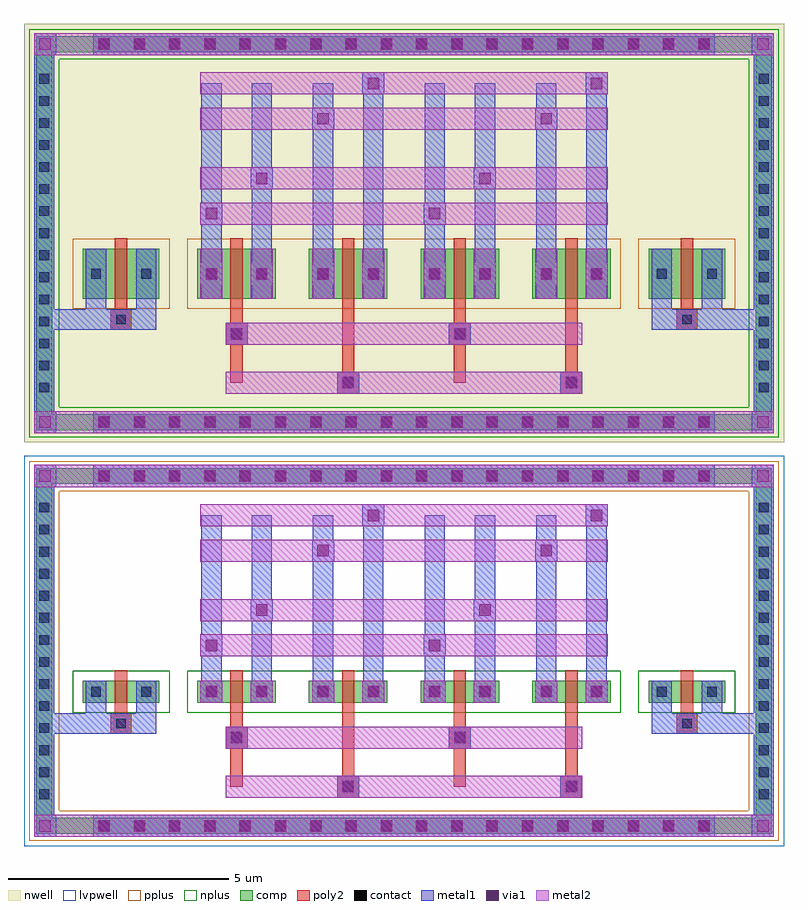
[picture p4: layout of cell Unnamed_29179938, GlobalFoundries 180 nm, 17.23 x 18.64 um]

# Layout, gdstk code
import gdstk
lib = gdstk.Library(unit=1e-6, precision=5e-09)
def R(c, l, rs):  # rectangles x0, y0, x1, y1
    for r in rs: c.add(gdstk.rectangle(r[:2], r[2:], *l))
def A(c, l, x, y, w, h, nx, ny, dx, dy):  # array of equal rectangles
    R(c, l, [(x+i*dx, y+j*dy, x+i*dx+w, y+j*dy+h) for i in range(nx) for j in range(ny)])
def P(c, l, *ps):  # polygons
    for p in ps: c.add(gdstk.Polygon(p, *l))
nwell = (21, 0)
comp = (22, 0)
poly2 = (30, 0)
pplus = (31, 0)
nplus = (32, 0)
contact = (33, 0)
metal1 = (34, 0)
via1 = (35, 0)
metal2 = (36, 0)
lvpwell = (204, 0)

unnamed_eaa04221_1 = lib.new_cell('Unnamed_eaa04221$1')
A(unnamed_eaa04221_1, comp, -6.98, -4.465, 0.36, 0.36, 18, 2, 0.8, 8.57)
A(unnamed_eaa04221_1, comp, -8.335, -3.68, 0.36, 0.36, 1, 15, 0, 0.5)
A(unnamed_eaa04221_1, comp, 7.975, -3.68, 0.36, 0.36, 1, 15, 0, 0.5)
R(unnamed_eaa04221_1, comp, [(-6.98,-4.465,6.98,-4.105), (-8.335,-3.68,-7.975,3.68), (7.975,-3.68,8.335,3.68), (-6.98,4.105,6.98,4.465)])
P(unnamed_eaa04221_1, comp, [(-8.335,-4.465),(-8.335,-4.105),(-7.975,-4.105),(7.975,-4.105),(7.975,4.105),(-7.975,4.105),(-7.975,-4.105),(-8.335,-4.105),(-8.335,4.465),(8.335,4.465),(8.335,-4.465)])
P(unnamed_eaa04221_1, nplus, [(-8.495,-4.625),(-8.495,-3.945),(-7.815,-3.945),(7.815,-3.945),(7.815,3.945),(-7.815,3.945),(-7.815,-3.945),(-8.495,-3.945),(-8.495,4.625),(8.495,4.625),(8.495,-4.625)])
A(unnamed_eaa04221_1, contact, -6.91, -4.395, 0.22, 0.22, 18, 2, 0.8, 8.57)
A(unnamed_eaa04221_1, contact, -8.265, -3.61, 0.22, 0.22, 1, 15, 0, 0.5)
A(unnamed_eaa04221_1, contact, 8.045, -3.61, 0.22, 0.22, 1, 15, 0, 0.5)
A(unnamed_eaa04221_1, metal1, -7.05, -4.535, 0.5, 0.5, 18, 2, 0.8, 8.57)
A(unnamed_eaa04221_1, metal1, -8.385, -3.73, 0.46, 0.46, 1, 15, 0, 0.5)
A(unnamed_eaa04221_1, metal1, 7.925, -3.73, 0.46, 0.46, 1, 15, 0, 0.5)
R(unnamed_eaa04221_1, metal1, [(-8.385,-4.535,-7.885,-4.035), (-8.385,-4.535,-7.885,-4.035), (-8.385,-4.535,-7.925,-4.105), (-7.05,-4.535,7.05,-4.035), (7.885,-4.535,8.385,-4.035), (7.885,-4.535,8.385,-4.035), (7.925,-4.535,8.385,-4.105), (-8.385,-4.105,-7.925,4.105), (7.925,-4.105,8.385,4.105), (-8.385,4.035,-7.885,4.535), (-8.385,4.035,-7.885,4.535), (-7.05,4.035,7.05,4.535), (7.885,4.035,8.385,4.535), (7.885,4.035,8.385,4.535), (-8.385,4.105,-7.925,4.535), (7.925,4.105,8.385,4.535)])
A(unnamed_eaa04221_1, via1, -6.93, -4.415, 0.26, 0.26, 18, 2, 0.8, 8.57)
R(unnamed_eaa04221_1, via1, [(-8.265,-4.415,-8.005,-4.155), (8.005,-4.415,8.265,-4.155), (-8.265,4.155,-8.005,4.415), (8.005,4.155,8.265,4.415)])
A(unnamed_eaa04221_1, metal2, -7.05, -4.535, 0.5, 0.5, 18, 2, 0.8, 8.57)
R(unnamed_eaa04221_1, metal2, [(-8.385,-4.535,-7.975,-4.035), (-8.385,-4.535,-7.885,-4.035), (-8.385,-4.535,-7.885,-4.035), (-7.975,-4.535,7.975,-4.035), (7.885,-4.535,8.385,-4.035), (7.885,-4.535,8.385,-4.035), (7.975,-4.535,8.385,-4.035), (-8.385,4.035,-7.975,4.535), (-8.385,4.035,-7.885,4.535), (-8.385,4.035,-7.885,4.535), (-7.975,4.035,7.975,4.535), (7.885,4.035,8.385,4.535), (7.885,4.035,8.385,4.535), (7.975,4.035,8.385,4.535)])

straight_route_da185be0 = lib.new_cell('straight_route_da185be0')
R(straight_route_da185be0, metal1, [(-8.385,-2.185,-6.645,-1.725)])

straight_route_5842c950 = lib.new_cell('straight_route_5842c950')
R(straight_route_5842c950, metal1, [(6.645,-2.185,8.385,-1.725)])

transformed_f8c645db = lib.new_cell('transformed_f8c645db')
R(transformed_f8c645db, nwell, [(-8.615,-4.745,8.615,4.745)])
A(transformed_f8c645db, comp, -4.685, -1.485, 1.78, 1.13, 4, 1, 2.53, 0)
R(transformed_f8c645db, comp, [(-7.285,-1.485,-5.545,-0.355), (5.545,-1.485,7.285,-0.355)])
A(transformed_f8c645db, poly2, -3.935, -1.725, 0.28, 1.61, 4, 1, 2.53, 0)
R(transformed_f8c645db, poly2, [(-1.515,-3.64,-1.015,-3.14), (3.545,-3.64,4.045,-3.14), (-1.445,-3.57,-1.085,-3.21), (3.615,-3.57,3.975,-3.21), (-3.935,-3.39,-3.655,-1.725), (1.125,-3.39,1.405,-1.725), (-1.405,-3.14,-1.125,-1.725), (3.655,-3.14,3.935,-1.725), (-4.045,-2.53,-3.545,-2.03), (1.015,-2.53,1.515,-2.03), (-3.975,-2.46,-3.615,-2.1), (1.085,-2.46,1.445,-2.1), (-6.645,-2.185,-6.185,-1.725), (6.185,-2.185,6.645,-1.725), (-6.595,-2.135,-6.235,-1.775), (6.235,-2.135,6.595,-1.775), (-3.935,-2.03,-3.655,-1.725), (1.125,-2.03,1.405,-1.725), (-6.555,-1.725,-6.275,-0.115), (6.275,-1.725,6.555,-0.115)])
A(transformed_f8c645db, pplus, -4.915, -1.715, 2.24, 1.59, 4, 1, 2.53, 0)
R(transformed_f8c645db, pplus, [(-7.515,-1.715,-5.315,-0.125), (-4.915,-1.715,4.915,-0.125), (5.315,-1.715,7.515,-0.125)])
R(transformed_f8c645db, contact, [(-1.375,-3.5,-1.155,-3.28), (3.685,-3.5,3.905,-3.28), (-3.905,-2.39,-3.685,-2.17), (1.155,-2.39,1.375,-2.17), (-6.525,-2.065,-6.305,-1.845), (6.305,-2.065,6.525,-1.845), (-7.095,-1.03,-6.875,-0.81), (-5.955,-1.03,-5.735,-0.81), (-4.475,-1.03,-4.255,-0.81), (-3.335,-1.03,-3.115,-0.81), (-1.945,-1.03,-1.725,-0.81), (-0.805,-1.03,-0.585,-0.81), (0.585,-1.03,0.805,-0.81), (1.725,-1.03,1.945,-0.81), (3.115,-1.03,3.335,-0.81), (4.255,-1.03,4.475,-0.81), (5.735,-1.03,5.955,-0.81), (6.875,-1.03,7.095,-0.81)])
R(transformed_f8c645db, metal1, [(-1.515,-3.64,-1.015,-3.14), (3.545,-3.64,4.045,-3.14), (-4.045,-2.53,-3.545,-2.03), (1.015,-2.53,1.515,-2.03), (-7.215,-2.185,-6.645,-1.725), (-7.215,-2.185,-6.755,-1.485), (-6.645,-2.185,-6.185,-1.725), (-6.185,-2.185,-5.615,-1.725), (-6.075,-2.185,-5.615,-1.485), (5.615,-2.185,6.185,-1.725), (5.615,-2.185,6.075,-1.485), (6.185,-2.185,6.645,-1.725), (6.645,-2.185,7.215,-1.725), (6.755,-2.185,7.215,-1.485), (-7.215,-1.485,-6.755,-0.355), (-6.075,-1.485,-5.615,-0.355), (-4.595,-1.485,-4.135,-0.355), (-3.455,-1.485,-2.995,-0.355), (-2.065,-1.485,-1.605,-0.355), (-0.925,-1.485,-0.465,-0.355), (0.465,-1.485,0.925,-0.355), (1.605,-1.485,2.065,-0.355), (2.995,-1.485,3.455,-0.355), (4.135,-1.485,4.595,-0.355), (5.615,-1.485,6.075,-0.355), (6.755,-1.485,7.215,-0.355), (-4.615,-1.17,-4.115,-0.67), (-4.615,-1.17,-4.115,-0.67), (-3.475,-1.17,-2.975,-0.67), (-3.475,-1.17,-2.975,-0.67), (-2.085,-1.17,-1.585,-0.67), (-2.085,-1.17,-1.585,-0.67), (-0.945,-1.17,-0.445,-0.67), (-0.945,-1.17,-0.445,-0.67), (0.445,-1.17,0.945,-0.67), (0.445,-1.17,0.945,-0.67), (1.585,-1.17,2.085,-0.67), (1.585,-1.17,2.085,-0.67), (2.975,-1.17,3.475,-0.67), (2.975,-1.17,3.475,-0.67), (4.115,-1.17,4.615,-0.67), (4.115,-1.17,4.615,-0.67), (-7.215,-1.15,-6.755,-0.69), (-6.075,-1.15,-5.615,-0.69), (-4.595,-1.15,-4.135,-0.69), (-3.455,-1.15,-2.995,-0.69), (-2.065,-1.15,-1.605,-0.69), (-0.925,-1.15,-0.465,-0.69), (0.465,-1.15,0.925,-0.69), (1.605,-1.15,2.065,-0.69), (2.995,-1.15,3.455,-0.69), (4.135,-1.15,4.595,-0.69), (5.615,-1.15,6.075,-0.69), (6.755,-1.15,7.215,-0.69), (-4.595,-0.355,-4.135,0.695), (-4.595,-0.355,-4.135,3.395), (-3.455,-0.355,-2.995,1.495), (-3.455,-0.355,-2.995,3.395), (-2.065,-0.355,-1.605,2.845), (-2.065,-0.355,-1.605,3.395), (-0.925,-0.355,-0.465,3.645), (-0.925,-0.355,-0.465,3.395), (0.465,-0.355,0.925,0.695), (0.465,-0.355,0.925,3.395), (1.605,-0.355,2.065,1.495), (1.605,-0.355,2.065,3.395), (2.995,-0.355,3.455,2.845), (2.995,-0.355,3.455,3.395), (4.135,-0.355,4.595,3.645), (4.135,-0.355,4.595,3.395), (-4.615,0.195,-4.115,0.695), (0.445,0.195,0.945,0.695), (-3.475,0.995,-2.975,1.495), (1.585,0.995,2.085,1.495), (-2.085,2.345,-1.585,2.845), (2.975,2.345,3.475,2.845), (-0.945,3.145,-0.445,3.645), (4.115,3.145,4.615,3.645)])
R(transformed_f8c645db, via1, [(-1.395,-3.52,-1.135,-3.26), (3.665,-3.52,3.925,-3.26), (-3.925,-2.41,-3.665,-2.15), (1.135,-2.41,1.395,-2.15), (-4.495,-1.05,-4.235,-0.79), (-3.355,-1.05,-3.095,-0.79), (-1.965,-1.05,-1.705,-0.79), (-0.825,-1.05,-0.565,-0.79), (0.565,-1.05,0.825,-0.79), (1.705,-1.05,1.965,-0.79), (3.095,-1.05,3.355,-0.79), (4.235,-1.05,4.495,-0.79), (-4.495,0.315,-4.235,0.575), (0.565,0.315,0.825,0.575), (-3.355,1.115,-3.095,1.375), (1.705,1.115,1.965,1.375), (-1.965,2.465,-1.705,2.725), (3.095,2.465,3.355,2.725), (-0.825,3.265,-0.565,3.525), (4.235,3.265,4.495,3.525)])
R(transformed_f8c645db, metal2, [(-4.045,-3.64,4.045,-3.14), (-1.515,-3.64,-1.015,-3.14), (-1.515,-3.64,-1.015,-3.14), (3.545,-3.64,4.045,-3.14), (3.545,-3.64,4.045,-3.14), (-4.045,-2.53,-3.545,-2.03), (-4.045,-2.53,-3.545,-2.03), (-4.045,-2.53,4.045,-2.03), (1.015,-2.53,1.515,-2.03), (1.015,-2.53,1.515,-2.03), (-4.615,-1.485,-4.115,-0.355), (-3.475,-1.485,-2.975,-0.355), (-2.085,-1.485,-1.585,-0.355), (-0.945,-1.485,-0.445,-0.355), (0.445,-1.485,0.945,-0.355), (1.585,-1.485,2.085,-0.355), (2.975,-1.485,3.475,-0.355), (4.115,-1.485,4.615,-0.355), (-4.615,-1.17,-4.115,-0.67), (-3.475,-1.17,-2.975,-0.67), (-2.085,-1.17,-1.585,-0.67), (-0.945,-1.17,-0.445,-0.67), (0.445,-1.17,0.945,-0.67), (1.585,-1.17,2.085,-0.67), (2.975,-1.17,3.475,-0.67), (4.115,-1.17,4.615,-0.67), (-4.615,0.195,-4.115,0.695), (-4.615,0.195,-2.975,0.695), (-4.615,0.195,4.615,0.695), (0.445,0.195,0.945,0.695), (0.445,0.195,2.085,0.695), (-4.615,0.995,-2.975,1.495), (-4.615,0.995,4.615,1.495), (-3.475,0.995,-2.975,1.495), (0.445,0.995,2.085,1.495), (1.585,0.995,2.085,1.495), (-4.615,2.345,4.615,2.845), (-2.085,2.345,-1.585,2.845), (-2.085,2.345,-0.445,2.845), (2.975,2.345,3.475,2.845), (2.975,2.345,4.615,2.845), (-4.615,3.145,4.615,3.645), (-2.085,3.145,-0.445,3.645), (-0.945,3.145,-0.445,3.645), (2.975,3.145,4.615,3.645), (4.115,3.145,4.615,3.645)])
transformed_f8c645db.add(gdstk.Reference(unnamed_eaa04221_1, (0,0)))
transformed_f8c645db.add(gdstk.Reference(straight_route_da185be0, (0,0)))
transformed_f8c645db.add(gdstk.Reference(straight_route_5842c950, (0,0)))

unnamed_e345ad25_1 = lib.new_cell('Unnamed_e345ad25$1')
A(unnamed_e345ad25_1, comp, -6.98, -4.145, 0.36, 0.36, 18, 2, 0.8, 7.93)
A(unnamed_e345ad25_1, comp, -8.335, -3.43, 0.36, 0.36, 1, 14, 0, 0.5)
A(unnamed_e345ad25_1, comp, 7.975, -3.43, 0.36, 0.36, 1, 14, 0, 0.5)
R(unnamed_e345ad25_1, comp, [(-6.98,-4.145,6.98,-3.785), (-8.335,-3.43,-7.975,3.43), (7.975,-3.43,8.335,3.43), (-6.98,3.785,6.98,4.145)])
P(unnamed_e345ad25_1, comp, [(-8.335,-4.145),(-8.335,-3.785),(-7.975,-3.785),(7.975,-3.785),(7.975,3.785),(-7.975,3.785),(-7.975,-3.785),(-8.335,-3.785),(-8.335,4.145),(8.335,4.145),(8.335,-4.145)])
P(unnamed_e345ad25_1, pplus, [(-8.495,-4.305),(-8.495,-3.625),(-7.815,-3.625),(7.815,-3.625),(7.815,3.625),(-7.815,3.625),(-7.815,-3.625),(-8.495,-3.625),(-8.495,4.305),(8.495,4.305),(8.495,-4.305)])
A(unnamed_e345ad25_1, contact, -6.91, -4.075, 0.22, 0.22, 18, 2, 0.8, 7.93)
A(unnamed_e345ad25_1, contact, -8.265, -3.36, 0.22, 0.22, 1, 14, 0, 0.5)
A(unnamed_e345ad25_1, contact, 8.045, -3.36, 0.22, 0.22, 1, 14, 0, 0.5)
A(unnamed_e345ad25_1, metal1, -7.05, -4.215, 0.5, 0.5, 18, 2, 0.8, 7.93)
A(unnamed_e345ad25_1, metal1, -8.385, -3.48, 0.46, 0.46, 1, 14, 0, 0.5)
A(unnamed_e345ad25_1, metal1, 7.925, -3.48, 0.46, 0.46, 1, 14, 0, 0.5)
R(unnamed_e345ad25_1, metal1, [(-8.385,-4.215,-7.885,-3.715), (-8.385,-4.215,-7.885,-3.715), (-8.385,-4.215,-7.925,-3.785), (-7.05,-4.215,7.05,-3.715), (7.885,-4.215,8.385,-3.715), (7.885,-4.215,8.385,-3.715), (7.925,-4.215,8.385,-3.785), (-8.385,-3.785,-7.925,3.785), (7.925,-3.785,8.385,3.785), (-8.385,3.715,-7.885,4.215), (-8.385,3.715,-7.885,4.215), (-7.05,3.715,7.05,4.215), (7.885,3.715,8.385,4.215), (7.885,3.715,8.385,4.215), (-8.385,3.785,-7.925,4.215), (7.925,3.785,8.385,4.215)])
A(unnamed_e345ad25_1, via1, -6.93, -4.095, 0.26, 0.26, 18, 2, 0.8, 7.93)
R(unnamed_e345ad25_1, via1, [(-8.265,-4.095,-8.005,-3.835), (8.005,-4.095,8.265,-3.835), (-8.265,3.835,-8.005,4.095), (8.005,3.835,8.265,4.095)])
A(unnamed_e345ad25_1, metal2, -7.05, -4.215, 0.5, 0.5, 18, 2, 0.8, 7.93)
R(unnamed_e345ad25_1, metal2, [(-8.385,-4.215,-7.975,-3.715), (-8.385,-4.215,-7.885,-3.715), (-8.385,-4.215,-7.885,-3.715), (-7.975,-4.215,7.975,-3.715), (7.885,-4.215,8.385,-3.715), (7.885,-4.215,8.385,-3.715), (7.975,-4.215,8.385,-3.715), (-8.385,3.715,-7.975,4.215), (-8.385,3.715,-7.885,4.215), (-8.385,3.715,-7.885,4.215), (-7.975,3.715,7.975,4.215), (7.885,3.715,8.385,4.215), (7.885,3.715,8.385,4.215), (7.975,3.715,8.385,4.215)])

straight_route_3c2b9652 = lib.new_cell('straight_route_3c2b9652')
R(straight_route_3c2b9652, metal1, [(-8.385,-1.875,-6.645,-1.415)])

straight_route_b50a4f53 = lib.new_cell('straight_route_b50a4f53')
R(straight_route_b50a4f53, metal1, [(6.645,-1.875,8.385,-1.415)])

transformed_bee14dd8 = lib.new_cell('transformed_bee14dd8')
A(transformed_bee14dd8, comp, -4.685, -1.175, 1.78, 0.5, 4, 1, 2.53, 0)
R(transformed_bee14dd8, comp, [(-7.285,-1.175,-5.545,-0.675), (5.545,-1.175,7.285,-0.675)])
A(transformed_bee14dd8, poly2, -3.935, -1.415, 0.28, 0.98, 4, 1, 2.53, 0)
R(transformed_bee14dd8, poly2, [(-1.515,-3.325,-1.015,-2.825), (3.545,-3.325,4.045,-2.825), (-1.445,-3.255,-1.085,-2.895), (3.615,-3.255,3.975,-2.895), (-3.935,-3.075,-3.655,-1.415), (1.125,-3.075,1.405,-1.415), (-1.405,-2.825,-1.125,-1.415), (3.655,-2.825,3.935,-1.415), (-4.045,-2.215,-3.545,-1.715), (1.015,-2.215,1.515,-1.715), (-3.975,-2.145,-3.615,-1.785), (1.085,-2.145,1.445,-1.785), (-6.645,-1.875,-6.185,-1.415), (6.185,-1.875,6.645,-1.415), (-6.595,-1.825,-6.235,-1.465), (6.235,-1.825,6.595,-1.465), (-3.935,-1.715,-3.655,-1.415), (1.125,-1.715,1.405,-1.415), (-6.555,-1.415,-6.275,-0.435), (6.275,-1.415,6.555,-0.435)])
A(transformed_bee14dd8, nplus, -4.915, -1.405, 2.24, 0.96, 4, 1, 2.53, 0)
R(transformed_bee14dd8, nplus, [(-7.515,-1.405,-5.315,-0.445), (-4.915,-1.405,4.915,-0.445), (5.315,-1.405,7.515,-0.445)])
R(transformed_bee14dd8, contact, [(-1.375,-3.185,-1.155,-2.965), (3.685,-3.185,3.905,-2.965), (-3.905,-2.075,-3.685,-1.855), (1.155,-2.075,1.375,-1.855), (-6.525,-1.755,-6.305,-1.535), (6.305,-1.755,6.525,-1.535), (-7.095,-1.035,-6.875,-0.815), (-5.955,-1.035,-5.735,-0.815), (-4.475,-1.035,-4.255,-0.815), (-3.335,-1.035,-3.115,-0.815), (-1.945,-1.035,-1.725,-0.815), (-0.805,-1.035,-0.585,-0.815), (0.585,-1.035,0.805,-0.815), (1.725,-1.035,1.945,-0.815), (3.115,-1.035,3.335,-0.815), (4.255,-1.035,4.475,-0.815), (5.735,-1.035,5.955,-0.815), (6.875,-1.035,7.095,-0.815)])
R(transformed_bee14dd8, metal1, [(-1.515,-3.325,-1.015,-2.825), (3.545,-3.325,4.045,-2.825), (-4.045,-2.215,-3.545,-1.715), (1.015,-2.215,1.515,-1.715), (-7.215,-1.875,-6.645,-1.415), (-7.215,-1.875,-6.755,-1.175), (-6.645,-1.875,-6.185,-1.415), (-6.185,-1.875,-5.615,-1.415), (-6.075,-1.875,-5.615,-1.175), (5.615,-1.875,6.185,-1.415), (5.615,-1.875,6.075,-1.175), (6.185,-1.875,6.645,-1.415), (6.645,-1.875,7.215,-1.415), (6.755,-1.875,7.215,-1.175), (-7.215,-1.175,-6.755,-0.675), (-6.075,-1.175,-5.615,-0.675), (-4.615,-1.175,-4.115,-0.675), (-4.615,-1.175,-4.115,-0.675), (-4.595,-1.175,-4.135,-0.675), (-3.475,-1.175,-2.975,-0.675), (-3.475,-1.175,-2.975,-0.675), (-3.455,-1.175,-2.995,-0.675), (-2.085,-1.175,-1.585,-0.675), (-2.085,-1.175,-1.585,-0.675), (-2.065,-1.175,-1.605,-0.675), (-0.945,-1.175,-0.445,-0.675), (-0.945,-1.175,-0.445,-0.675), (-0.925,-1.175,-0.465,-0.675), (0.445,-1.175,0.945,-0.675), (0.445,-1.175,0.945,-0.675), (0.465,-1.175,0.925,-0.675), (1.585,-1.175,2.085,-0.675), (1.585,-1.175,2.085,-0.675), (1.605,-1.175,2.065,-0.675), (2.975,-1.175,3.475,-0.675), (2.975,-1.175,3.475,-0.675), (2.995,-1.175,3.455,-0.675), (4.115,-1.175,4.615,-0.675), (4.115,-1.175,4.615,-0.675), (4.135,-1.175,4.595,-0.675), (5.615,-1.175,6.075,-0.675), (6.755,-1.175,7.215,-0.675), (-7.215,-1.155,-6.755,-0.695), (-6.075,-1.155,-5.615,-0.695), (-4.595,-1.155,-4.135,-0.695), (-3.455,-1.155,-2.995,-0.695), (-2.065,-1.155,-1.605,-0.695), (-0.925,-1.155,-0.465,-0.695), (0.465,-1.155,0.925,-0.695), (1.605,-1.155,2.065,-0.695), (2.995,-1.155,3.455,-0.695), (4.135,-1.155,4.595,-0.695), (5.615,-1.155,6.075,-0.695), (6.755,-1.155,7.215,-0.695), (-4.595,-0.675,-4.135,0.375), (-4.595,-0.675,-4.135,3.075), (-3.455,-0.675,-2.995,1.175), (-3.455,-0.675,-2.995,3.075), (-2.065,-0.675,-1.605,2.525), (-2.065,-0.675,-1.605,3.075), (-0.925,-0.675,-0.465,3.325), (-0.925,-0.675,-0.465,3.075), (0.465,-0.675,0.925,0.375), (0.465,-0.675,0.925,3.075), (1.605,-0.675,2.065,1.175), (1.605,-0.675,2.065,3.075), (2.995,-0.675,3.455,2.525), (2.995,-0.675,3.455,3.075), (4.135,-0.675,4.595,3.325), (4.135,-0.675,4.595,3.075), (-4.615,-0.125,-4.115,0.375), (0.445,-0.125,0.945,0.375), (-3.475,0.675,-2.975,1.175), (1.585,0.675,2.085,1.175), (-2.085,2.025,-1.585,2.525), (2.975,2.025,3.475,2.525), (-0.945,2.825,-0.445,3.325), (4.115,2.825,4.615,3.325)])
R(transformed_bee14dd8, via1, [(-1.395,-3.205,-1.135,-2.945), (3.665,-3.205,3.925,-2.945), (-3.925,-2.095,-3.665,-1.835), (1.135,-2.095,1.395,-1.835), (-4.495,-1.055,-4.235,-0.795), (-3.355,-1.055,-3.095,-0.795), (-1.965,-1.055,-1.705,-0.795), (-0.825,-1.055,-0.565,-0.795), (0.565,-1.055,0.825,-0.795), (1.705,-1.055,1.965,-0.795), (3.095,-1.055,3.355,-0.795), (4.235,-1.055,4.495,-0.795), (-4.495,-0.005,-4.235,0.255), (0.565,-0.005,0.825,0.255), (-3.355,0.795,-3.095,1.055), (1.705,0.795,1.965,1.055), (-1.965,2.145,-1.705,2.405), (3.095,2.145,3.355,2.405), (-0.825,2.945,-0.565,3.205), (4.235,2.945,4.495,3.205)])
R(transformed_bee14dd8, metal2, [(-4.045,-3.325,4.045,-2.825), (-1.515,-3.325,-1.015,-2.825), (-1.515,-3.325,-1.015,-2.825), (3.545,-3.325,4.045,-2.825), (3.545,-3.325,4.045,-2.825), (-4.045,-2.215,-3.545,-1.715), (-4.045,-2.215,-3.545,-1.715), (-4.045,-2.215,4.045,-1.715), (1.015,-2.215,1.515,-1.715), (1.015,-2.215,1.515,-1.715), (-4.615,-1.175,-4.115,-0.675), (-4.615,-1.175,-4.115,-0.675), (-3.475,-1.175,-2.975,-0.675), (-3.475,-1.175,-2.975,-0.675), (-2.085,-1.175,-1.585,-0.675), (-2.085,-1.175,-1.585,-0.675), (-0.945,-1.175,-0.445,-0.675), (-0.945,-1.175,-0.445,-0.675), (0.445,-1.175,0.945,-0.675), (0.445,-1.175,0.945,-0.675), (1.585,-1.175,2.085,-0.675), (1.585,-1.175,2.085,-0.675), (2.975,-1.175,3.475,-0.675), (2.975,-1.175,3.475,-0.675), (4.115,-1.175,4.615,-0.675), (4.115,-1.175,4.615,-0.675), (-4.615,-0.125,-4.115,0.375), (-4.615,-0.125,-2.975,0.375), (-4.615,-0.125,4.615,0.375), (0.445,-0.125,0.945,0.375), (0.445,-0.125,2.085,0.375), (-4.615,0.675,-2.975,1.175), (-4.615,0.675,4.615,1.175), (-3.475,0.675,-2.975,1.175), (0.445,0.675,2.085,1.175), (1.585,0.675,2.085,1.175), (-4.615,2.025,4.615,2.525), (-2.085,2.025,-1.585,2.525), (-2.085,2.025,-0.445,2.525), (2.975,2.025,3.475,2.525), (2.975,2.025,4.615,2.525), (-4.615,2.825,4.615,3.325), (-2.085,2.825,-0.445,3.325), (-0.945,2.825,-0.445,3.325), (2.975,2.825,4.615,3.325), (4.115,2.825,4.615,3.325)])
R(transformed_bee14dd8, lvpwell, [(-8.615,-4.425,8.615,4.425)])
transformed_bee14dd8.add(gdstk.Reference(unnamed_e345ad25_1, (0,0)))
transformed_bee14dd8.add(gdstk.Reference(straight_route_3c2b9652, (0,0)))
transformed_bee14dd8.add(gdstk.Reference(straight_route_b50a4f53, (0,0)))

unnamed_29179938 = lib.new_cell('Unnamed_29179938')
unnamed_29179938.add(gdstk.Reference(transformed_f8c645db, (0,9.47)))
unnamed_29179938.add(gdstk.Reference(transformed_bee14dd8, (0,0)))

lib.write_gds('Unnamed_29179938.gds')
